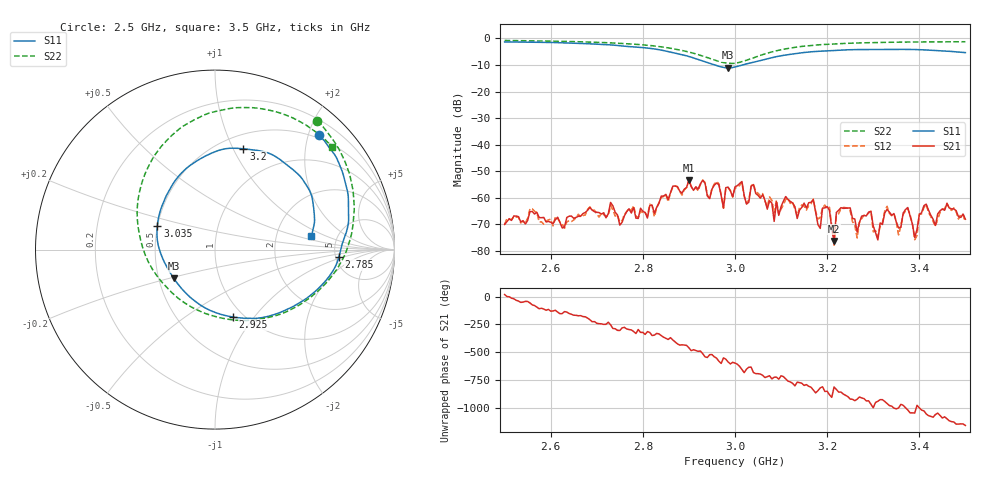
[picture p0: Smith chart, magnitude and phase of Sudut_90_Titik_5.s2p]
# Hz S RI R 50
! CMT, C1220, 16058040, 17.2.0/1
! Date: 15/08/2018 10:23:56
! Data: Format (Calibration Info)
! Freq  S11: Re/Im (F2)  S21: Re/Im (F2)  S12: Re/Im (F2)  S22: Re/Im (F2)
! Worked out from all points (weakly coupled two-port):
!   201 points, 2.5 GHz to 3.5 GHz, reference 50 ohm
!   highest |S21| = -53.38 dB at 2.9 GHz (marker M1); lowest = -76.3 dB at 3.215 GHz (marker M2)
!   lowest |S11| = -11.0 dB at 2.985 GHz (marker M3), VSWR 1.78, Z = 29.9 - j10.4 ohm
!   |S11| at or under -10 dB: 2.956 GHz to 3.015 GHz (59.01 MHz wide, 1.98 % of centre)
!   |S22| runs from -9.4 to -0.7 dB; largest |S21 - S12| = 0.00019
!   S11 on the Smith chart (normalised r, x): 2.5 GHz: 0.44, +2.19; 2.785 GHz: 5.35, -0.85; 2.925 GHz: 0.89, -0.79; 3.035 GHz: 0.50, +0.15; 3.2 GHz: 0.64, +1.10; 3.5 GHz: 3.21, +0.67
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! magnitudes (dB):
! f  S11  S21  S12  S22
! 2.5 GHz  -1.3  -70.1  -70.1  -0.7
! 2.67 GHz  -1.9  -66.0  -66.7  -1.3
! 2.785 GHz  -3.2  -67.7  -67.0  -2.2
! 2.835 GHz  -4.2  -62.0  -61.8  -3.0
! 2.9 GHz  -6.8  -53.4  -53.3  -5.1
! 2.925 GHz  -8.2  -54.7  -55.0  -6.3
! 2.985 GHz  -11.0  -56.0  -56.1  -9.3
! 3 GHz  -10.7  -55.9  -56.5  -9.3
! 3.035 GHz  -9.2  -55.7  -55.5  -7.6
! 3.085 GHz  -7.0  -68.9  -65.7  -4.8
! 3.17 GHz  -4.9  -60.7  -60.4  -2.5
! 3.185 GHz  -4.8  -71.5  -67.5  -2.3
! 3.2 GHz  -4.7  -63.3  -64.1  -2.2
! 3.215 GHz  -4.5  -76.3  -78.2  -2.0
! 3.23 GHz  -4.4  -63.7  -64.0  -1.9
! 3.31 GHz  -4.1  -75.9  -74.7  -1.5
! 3.335 GHz  -4.1  -65.4  -65.9  -1.4
! 3.355 GHz  -4.1  -71.4  -74.0  -1.4
! 3.375 GHz  -4.1  -63.7  -64.1  -1.3
! 3.39 GHz  -4.2  -74.9  -75.8  -1.3
! 3.415 GHz  -4.3  -62.4  -62.6  -1.3
! 3.5 GHz  -5.3  -68.1  -69.1  -1.2
